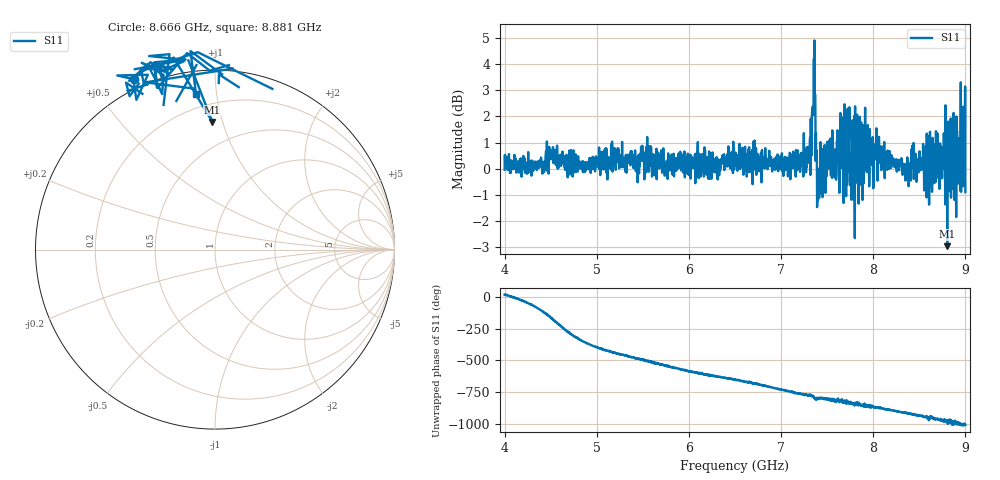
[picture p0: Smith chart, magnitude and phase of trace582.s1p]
! Created with skrf 1.8.0 (http://scikit-rf.org).
# Hz S RI R 50.0
!freq ReS11 ImS11
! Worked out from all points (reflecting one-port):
!   1601 points, 4 GHz to 9 GHz, reference 50 ohm
!   lowest |S11| = -3.0 dB at 8.803 GHz (marker M1), VSWR 5.94, Z = 16.1 + j46.3 ohm
!   phase of S11 starts at 18 deg and turns -1028 deg over the sweep
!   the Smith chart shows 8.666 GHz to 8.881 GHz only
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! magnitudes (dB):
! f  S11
! 4 GHz  0.0
! 4.625 GHz  0.3
! 4.875 GHz  0.3
! 5.25 GHz  0.5
! 5.875 GHz  0.0
! 6.5 GHz  0.1
! 7.125 GHz  0.4
! 7.294 GHz  0.3
! 7.347 GHz  2.0
! 7.362 GHz  4.9
! 7.4 GHz  -0.2
! 7.412 GHz  -1.1
! 7.509 GHz  0.2
! 7.591 GHz  0.6
! 7.669 GHz  1.6
! 7.697 GHz  -0.1
! 7.75 GHz  0.0
! 7.775 GHz  1.8
! 7.8 GHz  -2.6
! 7.928 GHz  1.3
! 7.981 GHz  0.3
! 8.05 GHz  0.6
! 8.375 GHz  -0.3
! 8.438 GHz  1.0
! 8.803 GHz  -3.0
! 8.919 GHz  -0.4
! 8.972 GHz  0.6
! 9 GHz  -0.9
